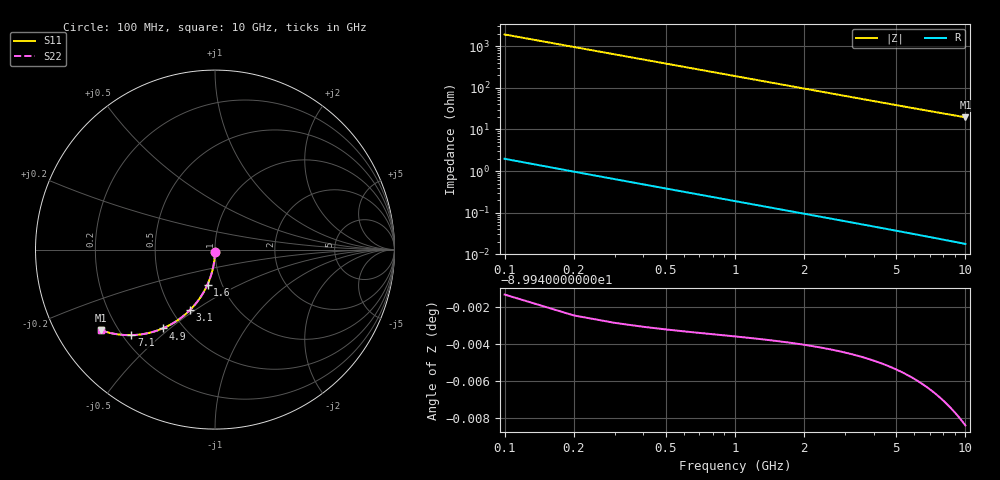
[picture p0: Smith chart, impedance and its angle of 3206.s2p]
# Hz S RI R 50.00
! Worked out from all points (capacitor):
!   100 points, 100 MHz to 10 GHz, reference 50 ohm
!   read as one part in shunt: C = 827 fF near 100 MHz
!   lowest |Z| = 19.6 ohm at 10 GHz (marker M1)
!   S11 on the Smith chart (normalised r, x): 100 MHz: 1.00, -0.03; 1.6 GHz: 0.86, -0.35; 3.1 GHz: 0.61, -0.48; 4.9 GHz: 0.39, -0.47; 7.1 GHz: 0.23, -0.40; 10 GHz: 0.14, -0.31
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1e8  -0.000122 -0.0127  0.9998 -0.0133  0.9998 -0.0133  -0.000122 -0.0127
2e8  -0.000641 -0.0254  0.9992 -0.0266  0.9992 -0.0266  -0.000641 -0.0254
3e8  -0.0015 -0.038  0.9984 -0.0398  0.9984 -0.0398  -0.0015 -0.038
4e8  -0.00269 -0.0507  0.9972 -0.053  0.9972 -0.053  -0.00269 -0.0507
5e8  -0.00421 -0.0632  0.9957 -0.0662  0.9957 -0.0662  -0.00421 -0.0632
6e8  -0.00606 -0.0757  0.9938 -0.0793  0.9938 -0.0793  -0.00606 -0.0757
7e8  -0.00824 -0.0882  0.9916 -0.0923  0.9916 -0.0923  -0.00824 -0.0882
9e8  -0.0136 -0.1127  0.9863 -0.1181  0.9863 -0.1181  -0.0136 -0.1127
1.2e9  -0.0239 -0.1487  0.976 -0.1559  0.976 -0.1559  -0.0239 -0.1487
1.6e9  -0.0417 -0.1947  0.9582 -0.2043  0.9582 -0.2043  -0.0417 -0.1947
1.8e9  -0.0522 -0.2166  0.9477 -0.2274  0.9477 -0.2274  -0.0522 -0.2166
2.4e9  -0.0892 -0.2775  0.9106 -0.2919  0.9106 -0.2919  -0.0892 -0.2775
3.1e9  -0.1407 -0.338  0.859 -0.3567  0.859 -0.3567  -0.1407 -0.338
3.4e9  -0.1646 -0.3602  0.835 -0.3808  0.835 -0.3808  -0.1646 -0.3602
4.1e9  -0.2231 -0.4036  0.7764 -0.4284  0.7764 -0.4284  -0.2231 -0.4036
4.9e9  -0.2915 -0.4392  0.7079 -0.469  0.7079 -0.469  -0.2915 -0.4392
5.1e9  -0.3084 -0.446  0.6909 -0.477  0.6909 -0.477  -0.3084 -0.446
5.9e9  -0.3745 -0.4656  0.6247 -0.5016  0.6247 -0.5016  -0.3745 -0.4656
6.7e9  -0.4366 -0.4749  0.5625 -0.5161  0.5625 -0.5161  -0.4366 -0.4749
7.1e9  -0.4657 -0.4765  0.5332 -0.5202  0.5332 -0.5202  -0.4657 -0.4765
8.4e9  -0.551 -0.4708  0.4475 -0.5228  0.4475 -0.5228  -0.551 -0.4708
1e10  -0.6366 -0.4488  0.3612 -0.5115  0.3612 -0.5115  -0.6366 -0.4488
